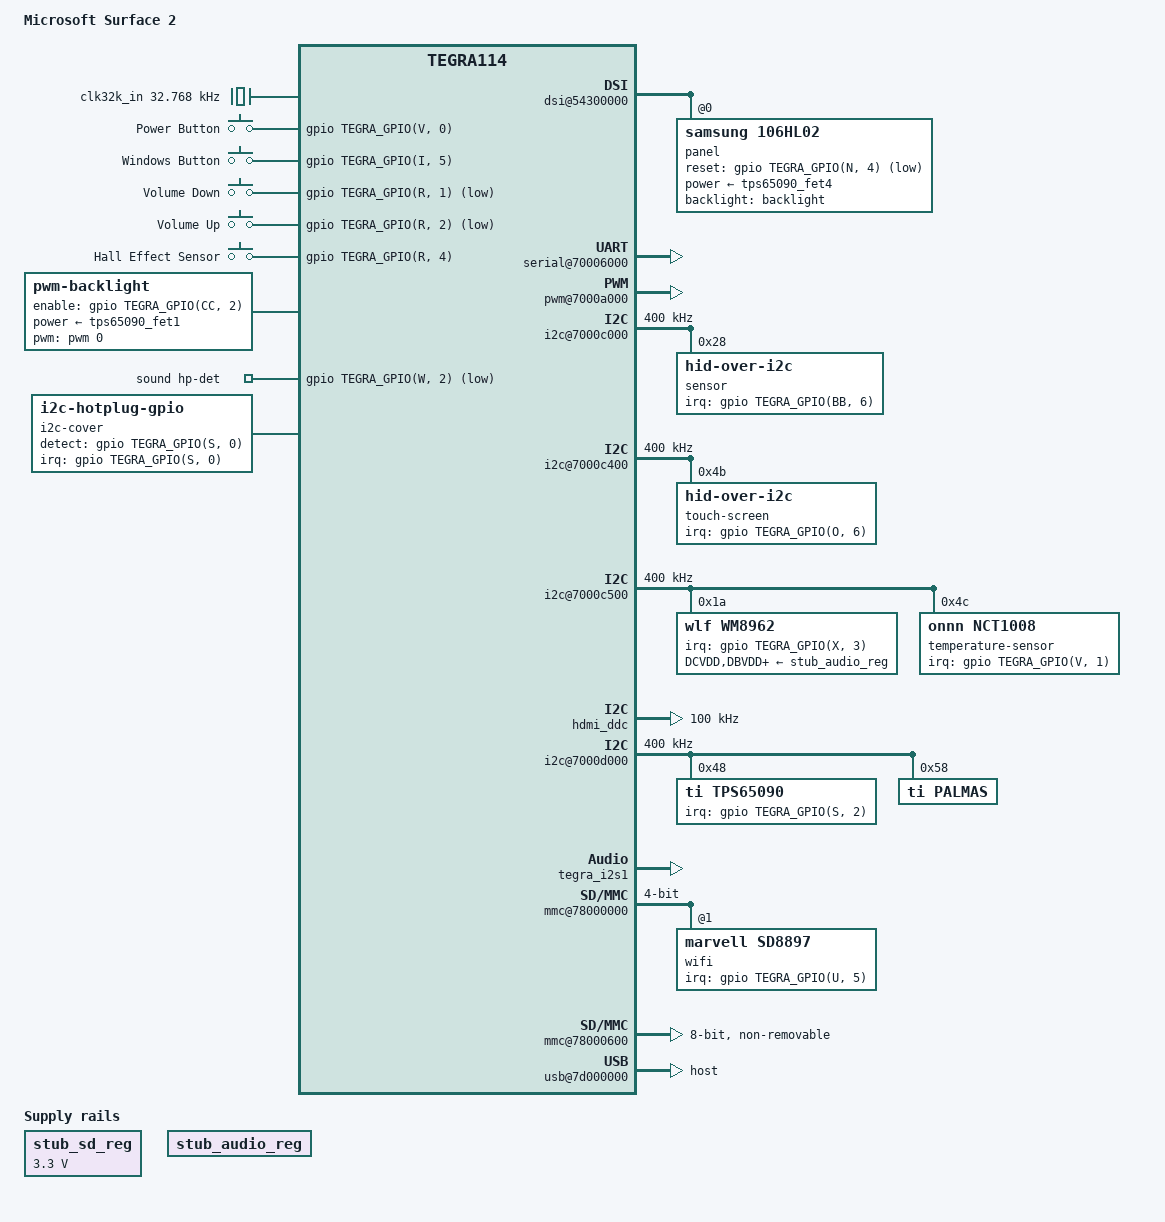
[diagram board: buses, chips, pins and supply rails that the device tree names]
// SPDX-License-Identifier: GPL-2.0

/dts-v1/;

#include <dt-bindings/input/input.h>
#include "tegra114.dtsi"

/ {
	model = "Microsoft Surface 2";
	compatible = "microsoft,surface-2", "nvidia,tegra114";

	aliases {
		mmc0 = &sdmmc4; /* eMMC */
		mmc1 = &sdmmc3; /* uSD slot */
		mmc2 = &sdmmc1; /* WiFi */

		rtc0 = &palmas;
		rtc1 = "/rtc@7000e000";

		serial0 = &uarta; /* console */
	};

	chosen {
		stdout-path = "serial0:115200n8";
	};

	clk32k_in: clock-32 {
		compatible = "fixed-clock";
		clock-frequency = <32768>;
		#clock-cells = <0>;
	};

	gpio-keys {
		compatible = "gpio-keys";

		label = "GPIO Buttons";

		power {
			label = "Power Button";
			gpios = <&gpio TEGRA_GPIO(V, 0) GPIO_ACTIVE_HIGH>;
			linux,code = <KEY_POWER>;
			debounce-interval = <10>;
			wakeup-source;
		};

		windows-button {
			label = "Windows Button";
			gpios = <&gpio TEGRA_GPIO(I, 5) GPIO_ACTIVE_HIGH>;
			linux,code = <KEY_LEFTMETA>;
			debounce-interval = <10>;
			wakeup-source;
		};

		volume-down {
			label = "Volume Down";
			gpios = <&gpio TEGRA_GPIO(R, 1) GPIO_ACTIVE_LOW>;
			linux,code = <KEY_VOLUMEDOWN>;
			debounce-interval = <10>;
		};

		volume-up {
			label = "Volume Up";
			gpios = <&gpio TEGRA_GPIO(R, 2) GPIO_ACTIVE_LOW>;
			linux,code = <KEY_VOLUMEUP>;
			debounce-interval = <10>;
		};
	};

	gpio-hall-sensor {
		compatible = "gpio-keys";

		label = "GPIO Hall Effect Sensor";

		hall-sensor {
			label = "Hall Effect Sensor";
			gpios = <&gpio TEGRA_GPIO(R, 4) GPIO_ACTIVE_HIGH>;
			linux,input-type = <EV_SW>;
			linux,code = <SW_LID>;
			linux,can-disable;
			wakeup-source;
		};
	};

	backlight: backlight {
		compatible = "pwm-backlight";

		enable-gpios = <&gpio TEGRA_GPIO(CC, 2) GPIO_ACTIVE_HIGH>;
		power-supply = <&tps65090_fet1>;
		pwms = <&pwm 0 1000000>;

		brightness-levels = <1 255>;
		num-interpolated-steps = <254>;
		default-brightness-level = <128>;
	};

	sound {
		compatible = "nvidia,tegra-audio-wm8962";
		nvidia,model = "NVIDIA Tegra Surface 2";

		nvidia,audio-routing =
			"Headphone Jack", "HPOUTR",
			"Headphone Jack", "HPOUTL",
			"Int Spk", "SPKOUTR",
			"Int Spk", "SPKOUTL";

		nvidia,i2s-controller = <&tegra_i2s1>;
		nvidia,audio-codec = <&wm8962>;

		nvidia,hp-det-gpios = <&gpio TEGRA_GPIO(W, 2) GPIO_ACTIVE_LOW>;

		clocks = <&tegra_car TEGRA114_CLK_PLL_A>,
			 <&tegra_car TEGRA114_CLK_PLL_A_OUT0>,
			 <&tegra_pmc TEGRA_PMC_CLK_OUT_1>;
		clock-names = "pll_a", "pll_a_out0", "mclk";

		assigned-clocks = <&tegra_car TEGRA114_CLK_EXTERN1>,
				  <&tegra_pmc TEGRA_PMC_CLK_OUT_1>;

		assigned-clock-parents = <&tegra_car TEGRA114_CLK_PLL_A_OUT0>,
					 <&tegra_car TEGRA114_CLK_EXTERN1>;
	};

	host1x@50000000 {
		hdmi@54280000 {
			status = "disabled"; // doesn't work yet

			nvidia,ddc-i2c-bus = <&hdmi_ddc>;
			nvidia,hpd-gpio = <&gpio TEGRA_GPIO(N, 7) GPIO_ACTIVE_HIGH>;
		};

		dsi@54300000 {
			status = "okay";

			avdd-dsi-csi-supply = <&tps65913_ldo3>;

			panel@0 {
				compatible = "samsung,106hl02";
				reg = <0>;

				reset-gpios = <&gpio TEGRA_GPIO(N, 4) GPIO_ACTIVE_LOW>;

				power-supply = <&tps65090_fet4>;
				backlight = <&backlight>;
			};
		};
	};

	pmc@7000e400 {
		nvidia,invert-interrupt;
	};

	serial@70006000 {
		status = "okay";
	};

	pinmux@70000868 {
		pinctrl-names = "default";
		pinctrl-0 = <&state_default>;

		state_default: pinmux {
			/* UART A RX ??? */
			/*
			sdmmc3_cmd_pa7 {
				nvidia,pins = "sdmmc3_cmd_pa7";
				nvidia,function = "uarta";
				nvidia,pull = <TEGRA_PIN_PULL_DOWN>;
				nvidia,tristate = <TEGRA_PIN_ENABLE>;
				nvidia,enable-input = <TEGRA_PIN_ENABLE>;
			};
			*/

			/* UART A TX */
			sdmmc3_dat1_pb6 {
				nvidia,pins = "sdmmc3_dat1_pb6";
				nvidia,function = "uarta";
				nvidia,pull = <TEGRA_PIN_PULL_NONE>;
				nvidia,tristate = <TEGRA_PIN_DISABLE>;
				nvidia,enable-input = <TEGRA_PIN_DISABLE>;
			};

			panel-backlight {
				nvidia,pins = "gmi_ad8_ph0";
				nvidia,function = "pwm0";
				nvidia,pull = <TEGRA_PIN_PULL_NONE>;
				nvidia,tristate = <TEGRA_PIN_DISABLE>;
				nvidia,enable-input = <TEGRA_PIN_DISABLE>;
			};
		};
	};

	pwm@7000a000 {
		status = "okay";
	};

	i2c@7000c000 {
		status = "okay";
		clock-frequency = <400000>;

		sensor@28 {
			compatible = "hid-over-i2c";
			reg = <0x28>;
			hid-descr-addr = <0x0001>;
			interrupt-parent = <&gpio>;
			interrupts = <TEGRA_GPIO(BB, 6) IRQ_TYPE_LEVEL_LOW>;
		};
	};

	i2c-cover {
		compatible = "i2c-hotplug-gpio";

		#address-cells = <1>;
		#size-cells = <0>;

		interrupts-extended = <&gpio TEGRA_GPIO(S, 0) IRQ_TYPE_EDGE_BOTH>;
		detect-gpios = <&gpio TEGRA_GPIO(S, 0) GPIO_ACTIVE_HIGH>;

		i2c-parent = <&i2c1>;

		cover@0 {
			compatible = "hid-over-i2c";
			reg = <0x00>;
			hid-descr-addr = <0x0041>;
			interrupt-parent = <&gpio>;
			interrupts = <TEGRA_GPIO(C, 7) IRQ_TYPE_LEVEL_LOW>;
		};
	};

	i2c@7000c400 {
		status = "okay";
		clock-frequency = <400000>;

		touch-screen@4b {
			compatible = "hid-over-i2c";
			reg = <0x4b>;
			hid-descr-addr = <0x0000>;
			interrupt-parent = <&gpio>;
			interrupts = <TEGRA_GPIO(O, 6) IRQ_TYPE_LEVEL_LOW>;
		};
	};

	i2c@7000c500 {
		status = "okay";
		clock-frequency = <400000>;

		wm8962: wm8962@1a {
			compatible = "wlf,wm8962";
			reg = <0x1a>;
			interrupt-parent = <&gpio>;
			interrupts = <TEGRA_GPIO(X, 3) IRQ_TYPE_LEVEL_HIGH>;

			DCVDD-supply = <&stub_audio_reg>;
			DBVDD-supply = <&stub_audio_reg>;
			AVDD-supply = <&stub_audio_reg>;
			CPVDD-supply = <&stub_audio_reg>;
			MICVDD-supply = <&stub_audio_reg>;
			PLLVDD-supply = <&stub_audio_reg>;
			SPKVDD1-supply = <&stub_audio_reg>;
			SPKVDD2-supply = <&stub_audio_reg>;
		};

		temperature-sensor@4c {
			compatible = "onnn,nct1008";
			reg = <0x4c>;
			interrupt-parent = <&gpio>;
			interrupts = <TEGRA_GPIO(V, 1) IRQ_TYPE_EDGE_FALLING>;
		};
	};

	hdmi_ddc: i2c@7000c700 {
		status = "okay";
		clock-frequency = <100000>;
	};

	i2c@7000d000 {
		status = "okay";
		clock-frequency = <400000>;

		// Battery Charger, SMPS, LDOs, FETs
		tps65090@48 {
			compatible = "ti,tps65090";
			reg = <0x48>;

			interrupt-parent = <&gpio>;
			interrupts = <TEGRA_GPIO(S, 2) IRQ_TYPE_LEVEL_HIGH>;

			charger: charger {
				compatible = "ti,tps65090-charger";
				//ti,enable-low-current-chrg;
			};

			regulators {
				tps65090_fet1: fet1 {};
				tps65090_fet4: fet4 {};
			};
		};

		palmas: pmic@58 {
			compatible = "ti,palmas";
			reg = <0x58>;
			interrupts = <GIC_SPI 86 IRQ_TYPE_LEVEL_HIGH>;

			#interrupt-cells = <2>;
			interrupt-controller;

			ti,system-power-controller;

			palmas_gpio: gpio {
				compatible = "ti,palmas-gpio";
				gpio-controller;
				#gpio-cells = <2>;
			};

			pmic {
				compatible = "ti,tps65913-pmic", "ti,palmas-pmic";
				regulators {
					tps65913_ldo3: ldo3 {};
				};
			};

			rtc {
				compatible = "ti,palmas-rtc";
				interrupt-parent = <&palmas>;
				interrupts = <8 0>;
			};

			pinmux {
				compatible = "ti,tps65913-pinctrl";
				ti,palmas-enable-dvfs1;
				pinctrl-names = "default";
				pinctrl-0 = <&palmas_default>;

				palmas_default: pinmux {
					// empty
				};
			};
		};
	};

	ahub@70080000 {
		tegra_i2s1: i2s@70080400 {
			status = "okay";
		};
	};

	/* WiFi - SDMMC-1 */
	mmc@78000000 {
		#address-cells = <1>;
		#size-cells = <0>;

		status = "okay";

		bus-width = <4>;
		cap-power-off-card;
		keep-power-in-suspend;
		max-frequency = <100000000>;

		assigned-clocks = <&tegra_car TEGRA114_CLK_SDMMC1>;
		assigned-clock-parents = <&tegra_car TEGRA114_CLK_PLL_C>;
		assigned-clock-rates = <100000000>;

		mmc-pwrseq = <&mrvl_wifi_pwrseq>;
		//vqmmc-supply = <&vqmmc_wifi_reg>;

		/* Marvell 88W8797 WiFi */
		wifi@1 {
			compatible = "marvell,sd8897";
			reg = <1>;
			interrupt-parent = <&gpio>;
			interrupts = <TEGRA_GPIO(U, 5) IRQ_TYPE_LEVEL_HIGH>;
		};
	};

	mrvl_wifi_pwrseq: wifi-pwrseq {
		compatible = "mmc-pwrseq-simple";

		clocks = <&tegra_pmc TEGRA_PMC_CLK_BLINK>;
		clock-names = "ext_clock";

		post-power-on-delay-ms = <300>;
		power-off-delay-us = <300>;
	};

	/* SD - SDMMC-3 */
	mmc@78000400 {
		status = "disabled"; // uart is more important
		vqmmc-supply = <&stub_sd_reg>;
		bus-width = <4>;
		cd-gpios = <&gpio TEGRA_GPIO(V, 2) GPIO_ACTIVE_LOW>;
	};

	/* eMMC - SDMMC-4 */
	mmc@78000600 {
		status = "okay";
		bus-width = <8>;
		non-removable;
	};

	usb@7d000000 {
		status = "okay";
		dr_mode = "host";
	};

	usb-phy@7d000000 {
		status = "okay";
		/* TODO: vbus-supply */
		//vbus-supply = <&usb3_vbus_reg>;
	};

	stub_sd_reg: stub_sd {
		compatible = "regulator-fixed";
		regulator-name = "vddio_sdmmc";
		regulator-min-microvolt = <3300000>;
		regulator-max-microvolt = <3300000>;
		regulator-always-on;
	};

	stub_audio_reg: stub_audio {
		compatible = "regulator-fixed";
		regulator-name = "stub_audio";
	};

/*
	usb3_vbus_reg: regulator-usb3 {
		compatible = "regulator-fixed";
		regulator-name = "usb2_vbus";
		regulator-min-microvolt = <5000000>;
		regulator-max-microvolt = <5000000>;
		enable-active-high;
		gpio = <&gpio TEGRA_GPIO(K, 1) GPIO_ACTIVE_HIGH>;
		vin-supply = <&tps65090_dcdc1_reg>;
	};
*/
};
